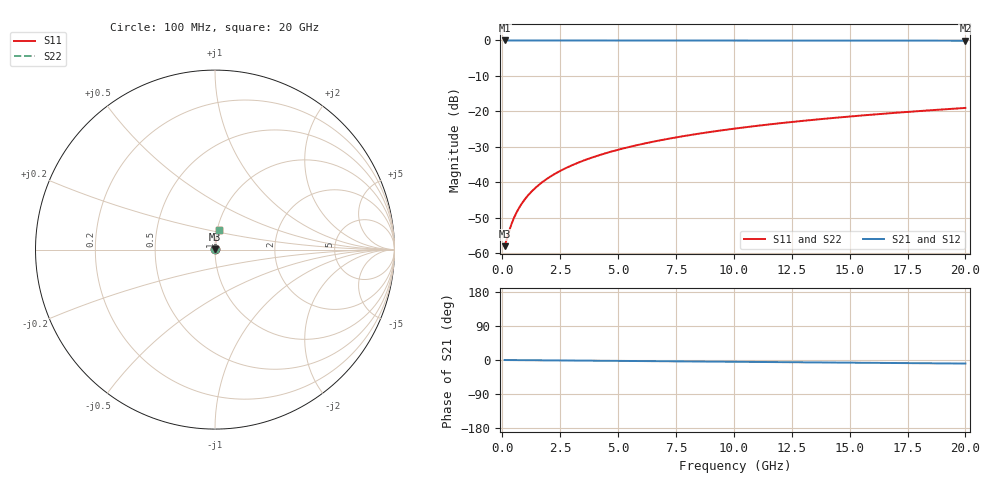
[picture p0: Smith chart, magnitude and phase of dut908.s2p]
! Touchstone file exported from HFSS 2026.1.0
!  File:  C:/ffzhzh/LocalFiles/Ansys_Project_Files/temp_train_TSV_908_1783186301_43440.aedt
!  Generated:  01:33:56 AM Jul  5, 2026
!  Design:  TSV
!  Project:  temp_train_TSV_908_1783186301_43440
! Variables:
!  h_bsmrdl = 2um
!  h_ox = 20um
!  h_rdl = 5um
!  h_sub = 62.69um
!  h_tmrdl = 5um
!  h_tsv = 62.69um
!  h_via = 3um
!  l_bsmrdl = 300um
!  l_sub = 405.14um
!  l_tmrdl = 200um
!  m_sub = 200um
!  pitch = 44.41um
!  r_tsv = 2.57um
!  s_tmrdl = 10um
!  w_bsmrdl = 18um
!  w_sub = 500um
!  w_tmrdl = 12um
!  x_tsv_center1 = 206um
!  x_tsv_center2 = 524um
!  x_tsv_center3 = 736um
!  x_tsv_center4 = 1054um
!  x_tsv_center5 = 1266um
!  x_tsv_center6 = 1584um
# GHz S MA R 50.000000
! Terminal data exported
! Port[1] = TSV1_1_T1
! Port[2] = TSV1_1_T2
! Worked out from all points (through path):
!   200 points, 100 MHz to 20 GHz, reference 50 ohm
!   highest |S21| = -0.01 dB at 100 MHz (marker M1); lowest = -0.1 dB at 20 GHz (marker M2)
!   group delay of S21, straight-line fit = 1.3 ps
!   lowest |S11| = -58.0 dB at 100 MHz (marker M3), VSWR 1.00, Z = 50.1 + j0.0586 ohm
!   |S11| at or under -10 dB: start of sweep to end of sweep
!   |S22| runs from -58.0 to -19.0 dB; largest |S21 - S12| = 4.5e-15
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0.1  0.001258 27.7  0.9989 -0.0  0.9989 -0.0  0.001258 27.7
! Gamma 0 0 0 0
! Port Impedance 50 0 50 0
0.3  0.002081 57.2  0.9989 -0.1  0.9989 -0.1  0.002081 57.2
0.4  0.002591 63.9  0.9989 -0.2  0.9989 -0.2  0.002591 63.9
0.5  0.003124 68.4  0.9989 -0.2  0.9989 -0.2  0.003124 68.4
0.6  0.00367 71.6  0.9989 -0.3  0.9989 -0.3  0.00367 71.6
0.7  0.004222 73.9  0.9988 -0.3  0.9988 -0.3  0.004222 73.9
0.9  0.005342 77.0  0.9988 -0.4  0.9988 -0.4  0.005342 77.0
1.2  0.007039 79.8  0.9988 -0.6  0.9988 -0.6  0.007039 79.8
1.4  0.008176 81.0  0.9988 -0.7  0.9988 -0.7  0.008176 81.0
1.7  0.009888 82.2  0.9988 -0.8  0.9988 -0.8  0.009888 82.2
2.2  0.01275 83.5  0.9987 -1.1  0.9987 -1.1  0.01275 83.5
2.8  0.01619 84.2  0.9986 -1.3  0.9986 -1.3  0.01619 84.2
3.5  0.02019 84.6  0.9985 -1.7  0.9985 -1.7  0.02019 84.6
4.2  0.0242 84.8  0.9983 -2.0  0.9983 -2.0  0.0242 84.8
5  0.02876 84.7  0.9981 -2.4  0.9981 -2.4  0.02876 84.7
5.9  0.03388 84.6  0.9979 -2.8  0.9979 -2.8  0.03388 84.6
6.8  0.03898 84.3  0.9976 -3.2  0.9976 -3.2  0.03898 84.3
8.3  0.04744 83.9  0.997 -3.9  0.997 -3.9  0.04744 83.9
10.1  0.05752 83.2  0.9963 -4.8  0.9963 -4.8  0.05752 83.2
13.4  0.07582 81.8  0.9947 -6.3  0.9947 -6.3  0.07582 81.8
16.7  0.09391 80.5  0.9928 -7.8  0.9928 -7.8  0.09391 80.5
20  0.1118 79.1  0.9907 -9.4  0.9907 -9.4  0.1118 79.1
